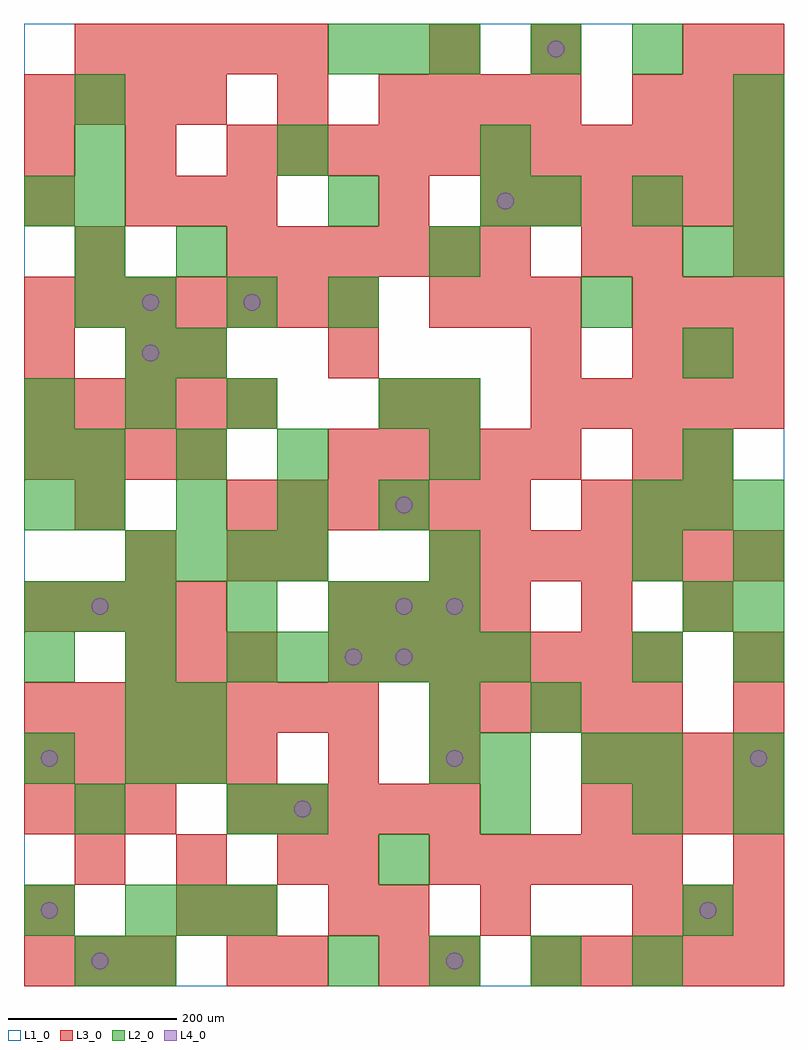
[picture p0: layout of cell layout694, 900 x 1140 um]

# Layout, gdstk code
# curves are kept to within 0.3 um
import gdstk
lib = gdstk.Library(unit=1e-6, precision=1e-09)
def R(c, l, rs):  # rectangles x0, y0, x1, y1
    for r in rs: c.add(gdstk.rectangle(r[:2], r[2:], *l))
def A(c, l, x, y, w, h, nx, ny, dx, dy):  # array of equal rectangles
    R(c, l, [(x+i*dx, y+j*dy, x+i*dx+w, y+j*dy+h) for i in range(nx) for j in range(ny)])
def P(c, l, *ps):  # polygons
    for p in ps: c.add(gdstk.Polygon(p, *l))
L1_0 = (1, 0)
L2_0 = (2, 0)
L3_0 = (3, 0)
L4_0 = (4, 0)

layout694 = lib.new_cell('layout694')
R(layout694, L1_0, [(0,0,900,1140)])
A(layout694, L2_0, 360, 0, 60, 60, 4, 1, 120, 0)
A(layout694, L2_0, 120, 60, 60, 60, 3, 1, 60, 0)
A(layout694, L2_0, 720, 240, 60, 60, 1, 3, 0, 120)
A(layout694, L2_0, 0, 360, 60, 60, 3, 2, 120, 300)
A(layout694, L2_0, 300, 360, 60, 60, 5, 1, 60, 0)
A(layout694, L2_0, 840, 360, 60, 60, 1, 3, 0, 60)
A(layout694, L2_0, 0, 420, 60, 60, 3, 1, 60, 0)
A(layout694, L2_0, 360, 420, 60, 60, 3, 2, 60, 660)
A(layout694, L2_0, 120, 480, 60, 60, 4, 1, 60, 0)
A(layout694, L2_0, 60, 540, 60, 60, 4, 1, 120, 0)
A(layout694, L2_0, 720, 540, 60, 60, 3, 1, 60, 0)
A(layout694, L2_0, 60, 600, 60, 60, 3, 1, 120, 0)
A(layout694, L2_0, 60, 780, 60, 60, 1, 3, 0, 60)
A(layout694, L2_0, 120, 780, 60, 60, 3, 1, 120, 0)
A(layout694, L2_0, 180, 840, 60, 60, 3, 1, 300, 0)
A(layout694, L2_0, 600, 900, 60, 60, 3, 1, 120, 0)
A(layout694, L2_0, 60, 960, 60, 60, 3, 1, 240, 0)
R(layout694, L2_0, [(60,0,120,60), (120,0,180,60), (0,60,60,120), (780,60,840,120), (420,120,480,180), (60,180,120,240), (240,180,300,240), (300,180,360,240), (540,180,600,240), (720,180,780,240), (840,180,900,240), (0,240,60,300), (120,240,180,300), (180,240,240,300), (480,240,540,300), (540,240,600,300), (660,240,720,300), (840,240,900,300), (120,300,180,360), (180,300,240,360), (480,300,540,360), (600,300,660,360), (240,420,300,480), (780,420,840,480), (480,480,540,540), (0,540,60,600), (0,600,60,660), (480,600,540,660), (780,600,840,660), (420,660,480,720), (480,660,540,720), (120,720,180,780), (180,720,240,780), (780,720,840,780), (660,780,720,840), (840,840,900,900), (0,900,60,960), (360,900,420,960), (540,900,600,960), (840,960,900,1020), (60,1020,120,1080), (840,1020,900,1080), (600,1080,660,1140), (720,1080,780,1140)])
A(layout694, L3_0, 0, 0, 60, 60, 3, 2, 60, 180)
A(layout694, L3_0, 600, 0, 60, 60, 5, 2, 60, 660)
A(layout694, L3_0, 720, 60, 60, 60, 3, 2, 60, 660)
A(layout694, L3_0, 60, 120, 60, 60, 3, 1, 120, 0)
A(layout694, L3_0, 480, 120, 60, 60, 5, 2, 60, 180)
A(layout694, L3_0, 240, 180, 60, 60, 5, 1, 60, 0)
A(layout694, L3_0, 660, 180, 60, 60, 4, 2, 60, 60)
A(layout694, L3_0, 0, 240, 60, 60, 5, 2, 60, 420)
A(layout694, L3_0, 480, 240, 60, 60, 1, 3, 0, 420)
A(layout694, L3_0, 0, 300, 60, 60, 7, 2, 60, 480)
A(layout694, L3_0, 120, 360, 60, 60, 3, 2, 60, 540)
A(layout694, L3_0, 360, 360, 60, 60, 7, 1, 60, 0)
A(layout694, L3_0, 0, 420, 60, 60, 4, 2, 60, 180)
A(layout694, L3_0, 360, 420, 60, 60, 4, 1, 60, 0)
A(layout694, L3_0, 480, 480, 60, 60, 7, 1, 60, 0)
A(layout694, L3_0, 240, 540, 60, 60, 6, 2, 60, 300)
A(layout694, L3_0, 660, 540, 60, 60, 3, 1, 60, 0)
A(layout694, L3_0, 360, 600, 60, 60, 5, 1, 60, 0)
A(layout694, L3_0, 480, 780, 60, 60, 3, 1, 60, 0)
A(layout694, L3_0, 720, 780, 60, 60, 3, 2, 60, 240)
A(layout694, L3_0, 540, 900, 60, 60, 6, 1, 60, 0)
A(layout694, L3_0, 0, 960, 60, 60, 3, 1, 120, 0)
A(layout694, L3_0, 300, 960, 60, 60, 10, 1, 60, 0)
A(layout694, L3_0, 0, 1020, 60, 60, 4, 1, 60, 0)
A(layout694, L3_0, 420, 1020, 60, 60, 4, 1, 60, 0)
A(layout694, L3_0, 60, 1080, 60, 60, 5, 1, 60, 0)
R(layout694, L3_0, [(240,0,300,60), (300,0,360,60), (420,0,480,60), (480,0,540,60), (0,60,60,120), (180,60,240,120), (240,60,300,120), (360,60,420,120), (420,60,480,120), (540,60,600,120), (360,120,420,180), (840,120,900,180), (360,240,420,300), (840,300,900,360), (840,360,900,420), (660,420,720,480), (780,420,840,480), (120,480,180,540), (240,480,300,540), (300,480,360,540), (60,540,120,600), (720,600,780,660), (780,600,840,660), (420,660,480,720), (0,720,60,780), (120,720,180,780), (180,720,240,780), (360,720,420,780), (600,720,660,780), (60,840,120,900), (660,840,720,900), (720,840,780,900), (840,840,900,900), (0,900,60,960), (420,900,480,960), (300,1020,360,1080), (600,1080,660,1140), (780,1080,840,1140), (840,1080,900,1140)])
P(layout694, L4_0, [(40,90),(39.239,93.827),(37.071,97.071),(33.827,99.239),(30,100),(26.173,99.239),(22.929,97.071),(20.761,93.827),(20,90),(20.761,86.173),(22.929,82.929),(26.173,80.761),(30,80),(33.827,80.761),(37.071,82.929),(39.239,86.173)],
  [(40,270),(39.239,273.827),(37.071,277.071),(33.827,279.239),(30,280),(26.173,279.239),(22.929,277.071),(20.761,273.827),(20,270),(20.761,266.173),(22.929,262.929),(26.173,260.761),(30,260),(33.827,260.761),(37.071,262.929),(39.239,266.173)],
  [(100,30),(99.239,33.827),(97.071,37.071),(93.827,39.239),(90,40),(86.173,39.239),(82.929,37.071),(80.761,33.827),(80,30),(80.761,26.173),(82.929,22.929),(86.173,20.761),(90,20),(93.827,20.761),(97.071,22.929),(99.239,26.173)],
  [(100,450),(99.239,453.827),(97.071,457.071),(93.827,459.239),(90,460),(86.173,459.239),(82.929,457.071),(80.761,453.827),(80,450),(80.761,446.173),(82.929,442.929),(86.173,440.761),(90,440),(93.827,440.761),(97.071,442.929),(99.239,446.173)],
  [(160,750),(159.239,753.827),(157.071,757.071),(153.827,759.239),(150,760),(146.173,759.239),(142.929,757.071),(140.761,753.827),(140,750),(140.761,746.173),(142.929,742.929),(146.173,740.761),(150,740),(153.827,740.761),(157.071,742.929),(159.239,746.173)],
  [(160,810),(159.239,813.827),(157.071,817.071),(153.827,819.239),(150,820),(146.173,819.239),(142.929,817.071),(140.761,813.827),(140,810),(140.761,806.173),(142.929,802.929),(146.173,800.761),(150,800),(153.827,800.761),(157.071,802.929),(159.239,806.173)],
  [(280,810),(279.239,813.827),(277.071,817.071),(273.827,819.239),(270,820),(266.173,819.239),(262.929,817.071),(260.761,813.827),(260,810),(260.761,806.173),(262.929,802.929),(266.173,800.761),(270,800),(273.827,800.761),(277.071,802.929),(279.239,806.173)],
  [(340,210),(339.239,213.827),(337.071,217.071),(333.827,219.239),(330,220),(326.173,219.239),(322.929,217.071),(320.761,213.827),(320,210),(320.761,206.173),(322.929,202.929),(326.173,200.761),(330,200),(333.827,200.761),(337.071,202.929),(339.239,206.173)],
  [(400,390),(399.239,393.827),(397.071,397.071),(393.827,399.239),(390,400),(386.173,399.239),(382.929,397.071),(380.761,393.827),(380,390),(380.761,386.173),(382.929,382.929),(386.173,380.761),(390,380),(393.827,380.761),(397.071,382.929),(399.239,386.173)],
  [(460,390),(459.239,393.827),(457.071,397.071),(453.827,399.239),(450,400),(446.173,399.239),(442.929,397.071),(440.761,393.827),(440,390),(440.761,386.173),(442.929,382.929),(446.173,380.761),(450,380),(453.827,380.761),(457.071,382.929),(459.239,386.173)],
  [(460,450),(459.239,453.827),(457.071,457.071),(453.827,459.239),(450,460),(446.173,459.239),(442.929,457.071),(440.761,453.827),(440,450),(440.761,446.173),(442.929,442.929),(446.173,440.761),(450,440),(453.827,440.761),(457.071,442.929),(459.239,446.173)],
  [(460,570),(459.239,573.827),(457.071,577.071),(453.827,579.239),(450,580),(446.173,579.239),(442.929,577.071),(440.761,573.827),(440,570),(440.761,566.173),(442.929,562.929),(446.173,560.761),(450,560),(453.827,560.761),(457.071,562.929),(459.239,566.173)],
  [(520,30),(519.239,33.827),(517.071,37.071),(513.827,39.239),(510,40),(506.173,39.239),(502.929,37.071),(500.761,33.827),(500,30),(500.761,26.173),(502.929,22.929),(506.173,20.761),(510,20),(513.827,20.761),(517.071,22.929),(519.239,26.173)],
  [(520,270),(519.239,273.827),(517.071,277.071),(513.827,279.239),(510,280),(506.173,279.239),(502.929,277.071),(500.761,273.827),(500,270),(500.761,266.173),(502.929,262.929),(506.173,260.761),(510,260),(513.827,260.761),(517.071,262.929),(519.239,266.173)],
  [(520,450),(519.239,453.827),(517.071,457.071),(513.827,459.239),(510,460),(506.173,459.239),(502.929,457.071),(500.761,453.827),(500,450),(500.761,446.173),(502.929,442.929),(506.173,440.761),(510,440),(513.827,440.761),(517.071,442.929),(519.239,446.173)],
  [(580,930),(579.239,933.827),(577.071,937.071),(573.827,939.239),(570,940),(566.173,939.239),(562.929,937.071),(560.761,933.827),(560,930),(560.761,926.173),(562.929,922.929),(566.173,920.761),(570,920),(573.827,920.761),(577.071,922.929),(579.239,926.173)],
  [(640,1110),(639.239,1113.827),(637.071,1117.071),(633.827,1119.239),(630,1120),(626.173,1119.239),(622.929,1117.071),(620.761,1113.827),(620,1110),(620.761,1106.173),(622.929,1102.929),(626.173,1100.761),(630,1100),(633.827,1100.761),(637.071,1102.929),(639.239,1106.173)],
  [(820,90),(819.239,93.827),(817.071,97.071),(813.827,99.239),(810,100),(806.173,99.239),(802.929,97.071),(800.761,93.827),(800,90),(800.761,86.173),(802.929,82.929),(806.173,80.761),(810,80),(813.827,80.761),(817.071,82.929),(819.239,86.173)],
  [(880,270),(879.239,273.827),(877.071,277.071),(873.827,279.239),(870,280),(866.173,279.239),(862.929,277.071),(860.761,273.827),(860,270),(860.761,266.173),(862.929,262.929),(866.173,260.761),(870,260),(873.827,260.761),(877.071,262.929),(879.239,266.173)])

lib.write_gds('layout694.gds')
